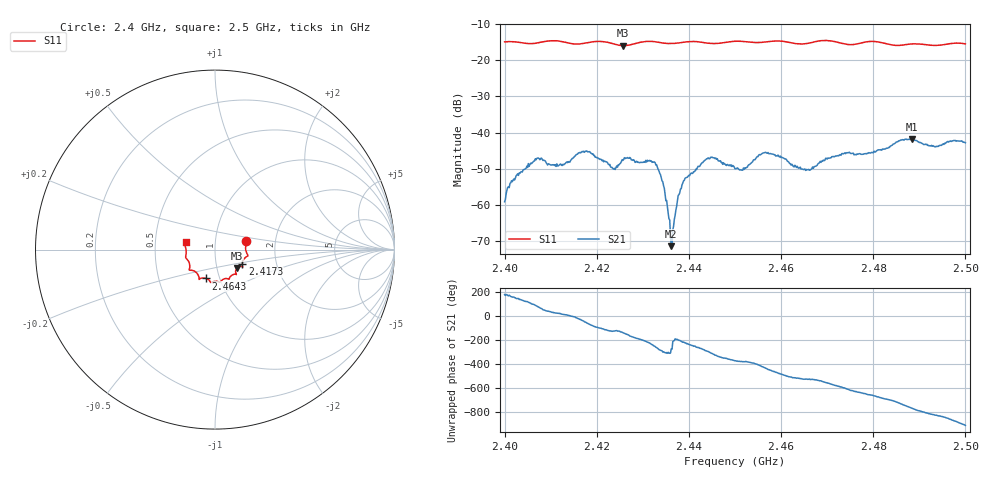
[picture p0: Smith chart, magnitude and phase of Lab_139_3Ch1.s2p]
# Hz S RI R 50
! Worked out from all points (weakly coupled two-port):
!   601 points, 2.4 GHz to 2.5 GHz, reference 50 ohm
!   highest |S21| = -41.81 dB at 2.4883 GHz (marker M1); lowest = -71.5 dB at 2.4362 GHz (marker M2)
!   lowest |S11| = -15.9 dB at 2.4257 GHz (marker M3), VSWR 1.38, Z = 62.5 - j13.1 ohm
!   |S11| at or under -10 dB: start of sweep to end of sweep
!   S12 and S22 are empty: the file has one direction only
!   S11 on the Smith chart (normalised r, x): 2.4 GHz: 1.41, +0.14; 2.4173 GHz: 1.34, -0.23; 2.4643 GHz: 0.86, -0.29; 2.5 GHz: 0.72, +0.06
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2.4e9  0.1732 0.0494  -0.0011 6.44e-05  0 0  0 0
2.401667e9  0.1761 0.043  -0.0019 0.000855  0 0  0 0
2.406833e9  0.1728 -0.00796  0.000375 0.00417  0 0  0 0
2.412e9  0.1807 -0.0369  0.00338 0.00127  0 0  0 0
2.416667e9  0.1528 -0.0742  0.00436 -0.00311  0 0  0 0
2.417333e9  0.1519 -0.0818  0.00346 -0.00404  0 0  0 0
2.4235e9  0.1418 -0.0938  -0.0019 -0.00252  0 0  0 0
2.425667e9  0.123 -0.1019  -0.00313 -0.00266  0 0  0 0
2.433333e9  0.1135 -0.1371  0.000177 0.00308  0 0  0 0
2.434667e9  0.1047 -0.1375  0.00091 0.00141  0 0  0 0
2.436167e9  0.0929 -0.1433  1.51e-05 0.000266  0 0  0 0
2.4365e9  0.0905 -0.1453  -0.00037 0.000244  0 0  0 0
2.438e9  0.0823 -0.1543  -0.00133 0.000583  0 0  0 0
2.4395e9  0.0795 -0.162  -0.00148 0.00187  0 0  0 0
2.4445e9  0.06 -0.1611  0.00232 0.00366  0 0  0 0
2.45e9  0.0288 -0.1815  0.00307 -0.000701  0 0  0 0
2.456667e9  -0.0116 -0.1793  0.00142 -0.00512  0 0  0 0
2.464333e9  -0.0499 -0.1608  -0.00294 -0.00106  0 0  0 0
2.466667e9  -0.0762 -0.1593  -0.00307 -0.000702  0 0  0 0
2.483333e9  -0.1406 -0.0897  0.00563 0.00266  0 0  0 0
2.488333e9  -0.1616 -0.0481  0.00574 -0.00575  0 0  0 0
2.5e9  -0.1637 0.0427  -0.00712 0.00109  0 0  0 0
